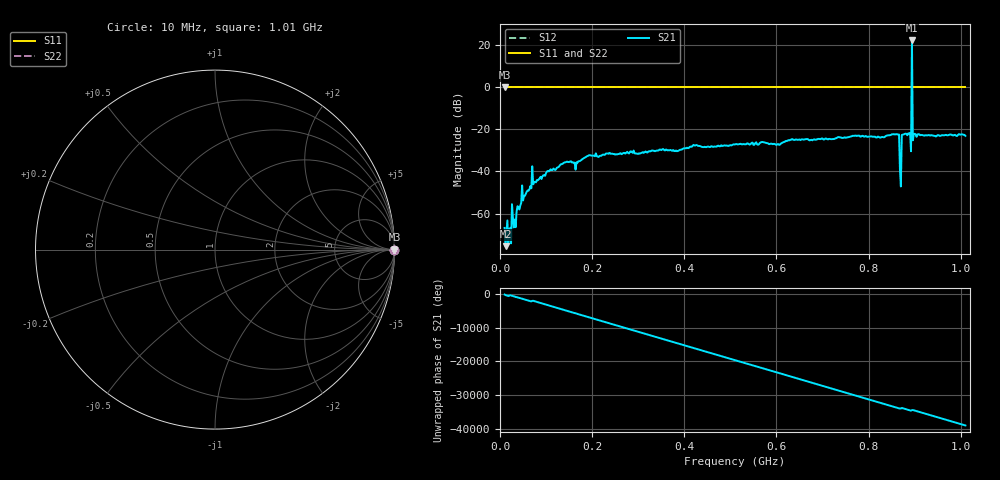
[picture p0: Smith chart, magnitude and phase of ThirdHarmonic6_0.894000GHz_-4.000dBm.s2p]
! 8/16/2025 5:21:26 AM
! C:\ANRITSUVNA\TEMP\TEMP.S2P
! CHANNEL.1
! TR.MEASUREMENT
! RAW.DATA
! RF.CORRECTION.OFF
! AVERAGING.OFF
! IF.BANDWIDTH: 5KHZ
! SWEEPTYPE:  FREQ.SWEEP(Linear)
! Reference Plane Port Info
! PORT:  PORT1  PORT2
! DISTANCE:  0  m  0  m
! TIME:  0  s  0  s
! PHASE.OFFSET:  0  deg.  0  deg.
! LOSS:  0  dB  0  dB
! REF.LOSS:  0  dB  0  dB
! REF.FREQ:  0  Hz  0  Hz
! Power Info
! POWER:  -20  dBm  -20  dBm
! EFF.POWER:  -20  dBm  -20  dBm
! SOURCE.ATTEN:  0  dB  0  dB
! TEST.ATTEN:  0  dB  0  dB
# GHZ S RI R 50.0
! FREQ.GHZ  S11RE  S11IM  S21RE  S21IM  S12RE  S12IM  S22RE  S22IM
!; PortSelection: Port_12
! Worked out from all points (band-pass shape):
!   501 points, 10 MHz to 1.01 GHz, reference 50 ohm
!   highest |S21| = 22.27 dB at 894 MHz (marker M1); lowest = -75.5 dB at 12 MHz (marker M2)
!   |S21| within 3 dB of the highest: 893.8861 MHz to 894.1264 MHz (240.3 kHz wide, 0.0269 % of centre)
!   lowest |S11| = 0.0 dB at 10 MHz (marker M3)
!   |S11| at or under -10 dB: nowhere
!   |S22| runs from 0.0 to 0.0 dB; largest |S21 - S12| = 13
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0.01  1 0  -0.000315 -0.00033  1 0  1 0
0.012  1 0  6.89e-05 0.000153  1 0  1 0
0.02  1 0  -0.000281 -0.00032  1 0  1 0
0.05  1 0  0.00201 -0.000354  1 0  1 0
0.074  1 0  0.000881 0.00553  1 0  1 0
0.142  1 0  -0.0151 -0.00658  1 0  1 0
0.178  1 0  -0.0187 -0.005  1 0  1 0
0.344  1 0  0.031 -0.00546  1 0  1 0
0.51  1 0  -0.0421 0.012  1 0  1 0
0.678  1 0  -0.0179 -0.0521  1 0  1 0
0.844  1 0  0.0436 0.0578  1 0  1 0
0.862  1 0  0.0546 0.0538  1 0  1 0
0.866  1 0  -0.033 -0.0678  1 0  1 0
0.868  1 0  -0.00843 -0.00694  1 0  1 0
0.872  1 0  0.0737 -0.000728  1 0  1 0
0.876  1 0  -0.0696 -0.03  1 0  1 0
0.888  1 0  0.0192 0.0777  1 0  1 0
0.89  1 0  0.0821 -0.00679  1 0  1 0
0.894  1 0  2.3 12.78  1 0  1 0
0.898  1 0  0.0673 0.04  1 0  1 0
0.9  1 0  0.0494 -0.0609  1 0  1 0
1.01  1 0  -0.0653 -0.0252  1 0  1 0
